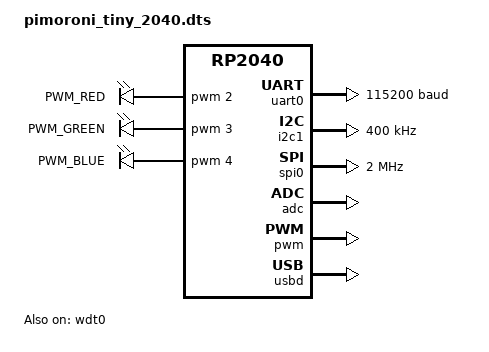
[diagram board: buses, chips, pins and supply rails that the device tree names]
/*
 * Copyright (c) 2021 Yonatan Schachter
 *
 * SPDX-License-Identifier: Apache-2.0
 */

/dts-v1/;

#include <rpi_pico/rp2040.dtsi>
#include "pimoroni_tiny_2040-pinctrl.dtsi"
/* #include "sparkfun_pro_micro_connector.dtsi" */
#include <freq.h>
#include <zephyr/dt-bindings/led/led.h>
#include <zephyr/dt-bindings/pwm/pwm.h>

/ {
	chosen {
		zephyr,sram = &sram0;
		zephyr,flash = &flash0;
		zephyr,flash-controller = &ssi;
		// zephyr,console = &uart0;
		zephyr,code-partition = &code_partition;
	};

	aliases {
		watchdog0 = &wdt0;
		led-strip = &ws2812;
		/* pwm-red = &pwm_red; */
		/* pwm-green = &pwm_green; */
	};

	leds {
		compatible = "gpio-leds";

		/* Declare these, but disable. */
		status = "disabled";

		red_led: led_0 {
			gpios = <&gpio0 18 GPIO_ACTIVE_HIGH>;
			label = "Red - LED0";
		};

		green_led: led_1 {
			gpios = <&gpio0 19 GPIO_ACTIVE_HIGH>;
			label = "Green - LED1";
		};

		blue_led: led_2 {
			gpios = <&gpio0 20 GPIO_ACTIVE_HIGH>;
			label = "Blue - LED2";
		};
	};

	pwm_leds: pwm_leds {
		compatible = "pwm-leds";
		status = "okay";
		pwm_red: pwm_led_0 {
			pwms = <&pwm 2 PWM_MSEC(20) PWM_POLARITY_INVERTED>;
			label = "PWM_RED";
		};
		pwm_green: pwm_led_1 {
			pwms = <&pwm 3 PWM_MSEC(20) PWM_POLARITY_INVERTED>;
			label = "PWM_GREEN";
		};
		pwm_blue: pwm_led_2 {
			pwms = <&pwm 4 PWM_MSEC(20) PWM_POLARITY_INVERTED>;
			label = "PWM_BLUE";
		};
	};
};

&flash0 {
	/* 16MB of flash minus the 0x100 used for
	 * the second stage bootloader
	 */
	reg = <0x10000000 DT_SIZE_M(16)>;

	partitions {
		compatible = "fixed-partitions";
		#address-cells = <1>;
		#size-cells = <1>;

		/* Reserved memory for the second stage bootloader */
		second_stage_bootloader: partition@0 {
			label = "second_stage_bootloader";
			reg = <0x00000000 0x100>;
			read-only;
		};


		/*
		 * Usable flash. Starts at 0x100, after the bootloader. The partition
		 * size is 16MB minus the 0x100 bytes taken by the bootloader.
		 */
		code_partition: partition@100 {
			label = "code-partition";
			reg = <0x100 (DT_SIZE_M(16) - 0x100)>;
			read-only;
		};
	};
};

&clocks {
	pinctrl-0 = <&clocks_default>;
	pinctrl-names = "default";
};

&uart0 {
	current-speed = <115200>;
	status = "okay";
	pinctrl-0 = <&uart0_default>;
	pinctrl-names = "default";
};

&uart1 {
	status = "disabled";
};

&i2c1 {
	status = "okay";
	pinctrl-0 = <&i2c1_default>;
	pinctrl-names = "default";
	clock-frequency = <I2C_BITRATE_FAST>;
};

&spi0 {
	status = "okay";
	pinctrl-0 = <&spi0_default>;
	pinctrl-names = "default";
	clock-frequency = <DT_FREQ_M(2)>;
};

&gpio0 {
	status = "okay";
};

&wdt0 {
	status = "okay";
};

&adc {
	status = "okay";
	pinctrl-0 = <&adc_default>;
	pinctrl-names = "default";
};

&pwm {
	status = "okay";
	pinctrl-0 = <&pwm_default>;
	divider-int-0 = <255>;
	divider-int-1 = <255>;
	divider-int-2 = <255>;
	divider-frac-0 = <15>;
	divider-frac-1 = <15>;
	divider-frac-2 = <15>;
	pinctrl-names = "default";
};

&pio0 {
	status = "okay";

	pio-ws2812 {
		compatible = "worldsemi,ws2812-rpi_pico-pio";
		status = "okay";
		pinctrl-0 = <&ws2812_pio0_default>;
		pinctrl-names = "default";
		bit-waveform = <3>, <3>, <4>;

		ws2812: ws2812 {
			status = "okay";
			gpios = <&gpio0 29 GPIO_ACTIVE_HIGH>;
			chain-length = <4>;
			color-mapping = <LED_COLOR_ID_GREEN
					 LED_COLOR_ID_RED
					 LED_COLOR_ID_BLUE>;
			reset-delay = <280>;
			frequency = <800000>;
		};
	};
};

zephyr_udc0: &usbd {
	status = "okay";
};

&vreg {
	regulator-always-on;
	regulator-allowed-modes = <REGULATOR_RPI_PICO_MODE_NORMAL>;
};
